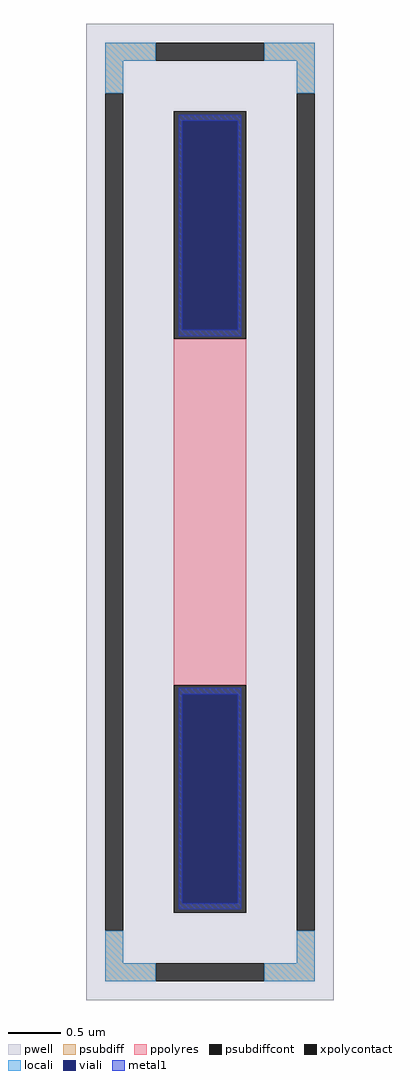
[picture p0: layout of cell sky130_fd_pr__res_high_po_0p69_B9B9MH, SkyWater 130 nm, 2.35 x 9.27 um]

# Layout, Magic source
magic
tech sky130A
magscale 1 2
<< pwell >>
rect -235 -927 235 927
<< psubdiff >>
rect -199 857 -103 891
rect 103 857 199 891
rect -199 795 -165 857
rect 165 795 199 857
rect -199 -857 -165 -795
rect 165 -857 199 -795
rect -199 -891 -103 -857
rect 103 -891 199 -857
<< psubdiffcont >>
rect -103 857 103 891
rect -199 -795 -165 795
rect 165 -795 199 795
rect -103 -891 103 -857
<< xpolycontact >>
rect -69 329 69 761
rect -69 -761 69 -329
<< ppolyres >>
rect -69 -329 69 329
<< locali >>
rect -199 857 -103 891
rect 103 857 199 891
rect -199 795 -165 857
rect 165 795 199 857
rect -199 -857 -165 -795
rect 165 -857 199 -795
rect -199 -891 -103 -857
rect 103 -891 199 -857
<< viali >>
rect -53 346 53 743
rect -53 -743 53 -346
<< metal1 >>
rect -59 743 59 755
rect -59 346 -53 743
rect 53 346 59 743
rect -59 334 59 346
rect -59 -346 59 -334
rect -59 -743 -53 -346
rect 53 -743 59 -346
rect -59 -755 59 -743
<< properties >>
string FIXED_BBOX -182 -874 182 874
string gencell sky130_fd_pr__res_high_po_0p69
string library sky130
string parameters w 0.690 l 3.45 m 1 nx 1 wmin 0.690 lmin 0.50 rho 319.8 val 2.163k dummy 0 dw 0.0 term 194.82 sterm 0.0 caplen 0 guard 1 glc 1 grc 1 gtc 1 gbc 1 compatible {sky130_fd_pr__res_high_po_0p35  sky130_fd_pr__res_high_po_0p69 sky130_fd_pr__res_high_po_1p41  sky130_fd_pr__res_high_po_2p85 sky130_fd_pr__res_high_po_5p73} snake 0 full_metal 1 wmax 0.690 n_guard 0 hv_guard 0 vias 1 viagb 0 viagt 0 viagl 0 viagr 0
<< end >>
